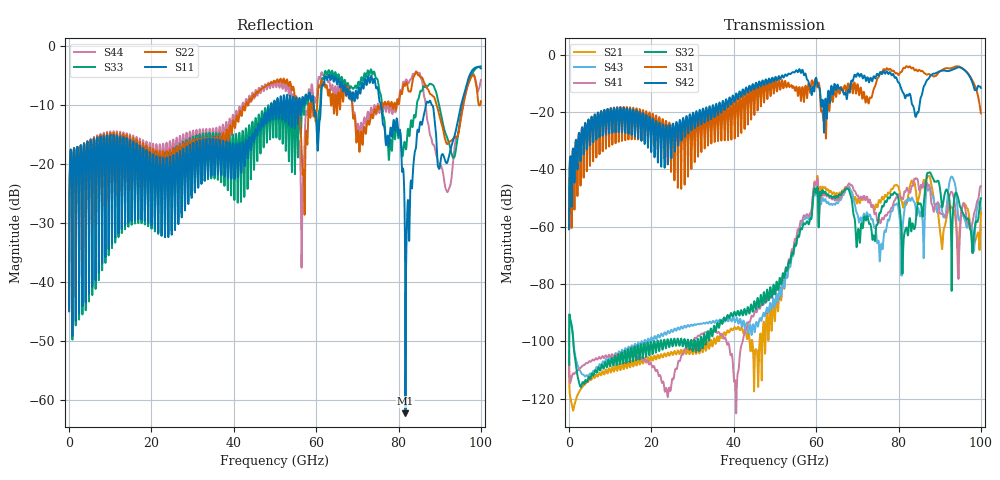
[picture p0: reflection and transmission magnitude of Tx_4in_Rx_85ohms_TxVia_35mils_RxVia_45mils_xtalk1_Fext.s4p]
! Info: Touchstone file created by Circ.  Input file=Tx_4in_Rx_85ohms_TxVia_35mils_RxVia_45mils.circ
# Hz S RI R 50
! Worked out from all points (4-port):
!   10000 points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, 10 MHz to 100 GHz, reference 50 ohm
!   strongest paths, dB at 10 MHz, 25.01 GHz, 50.01 GHz, 75.01 GHz, 100 GHz:
!     S42: -60.9, -28.3, -8.1, -7.1, -11.6
!     S31: -60.9, -25.8, -9.4, -8.2, -20.5
!     S32: -108.2, -101.0, -83.6, -58.6, -50.1
!     S41: -103.6, -113.2, -82.4, -58.1, -45.9
!     S43: -101.4, -96.3, -87.6, -65.2, -53.9
!     S21: -104.4, -104.3, -92.3, -52.5, -54.6
!   lowest |S11| = -62.2 dB at 81.69 GHz (marker M1), VSWR 1.00, Z = 50 - j0.0753 ohm
!   |S11| at or under -10 dB: start of sweep to 49 GHz; 75.74 GHz to 86.64 GHz (10.9 GHz wide, 13.4 % of centre); 88.05 GHz to 95.21 GHz (7.16 GHz wide, 7.81 % of centre)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
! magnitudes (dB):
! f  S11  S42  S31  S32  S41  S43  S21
! 10 MHz  -44.8  -60.9  -60.9  -108.2  -103.6  -101.4  -104.4
! 6.63 GHz  -18.9  -29.6  -35.5  -110.8  -106.0  -109.0  -111.6
! 51.91 GHz  -11.2  -7.6  -10.8  -76.2  -77.3  -79.0  -78.4
! 63.47 GHz  -5.8  -14.1  -14.4  -49.3  -49.9  -52.1  -47.6
! 81.69 GHz  -62.2  -15.1  -4.5  -60.9  -47.9  -51.8  -52.1
! 94.55 GHz  -12.2  -4.4  -4.1  -50.4  -78.2  -57.2  -69.6
! 100 GHz  -3.8  -11.6  -20.5  -50.1  -45.9  -53.9  -54.6
